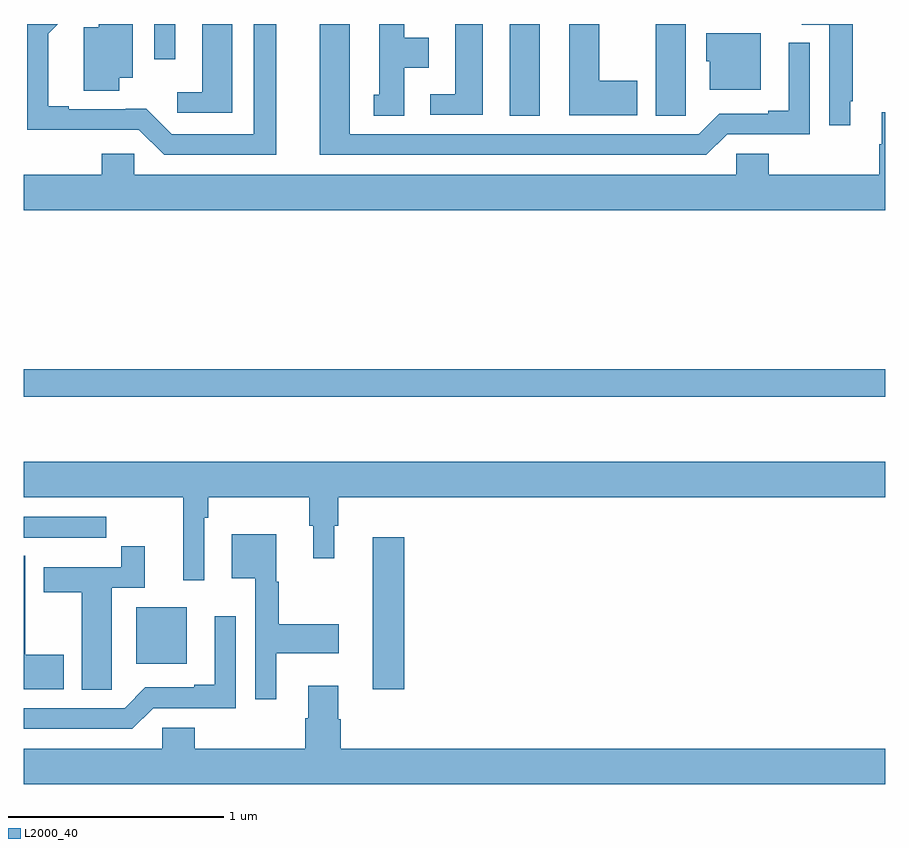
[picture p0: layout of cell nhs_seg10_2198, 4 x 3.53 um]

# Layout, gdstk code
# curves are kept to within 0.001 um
import gdstk
lib = gdstk.Library(unit=1e-6, precision=1e-09)
def R(c, l, rs):  # rectangles x0, y0, x1, y1
    for r in rs: c.add(gdstk.rectangle(r[:2], r[2:], *l))
def P(c, l, *ps):  # polygons
    for p in ps: c.add(gdstk.Polygon(p, *l))
L2000_40 = (2000, 40)

nhs_seg10_2198 = lib.new_cell('nhs_seg10_2198')
R(nhs_seg10_2198, L2000_40, [(228.62,1311.411,228.767,1312.117), (227.522,1311.53,227.758,1311.793), (227,1312.77,231,1312.898), (229.256,1314.073,229.396,1314.5), (227.607,1314.336,227.703,1314.5)])
P(nhs_seg10_2198, L2000_40, [(227.968,1314.5),(227.828,1314.5),(227.828,1314.184),(227.712,1314.184),(227.712,1314.087),(227.968,1314.087)],
  [(228.172,1314.5),(228.068,1314.5),(228.068,1313.988),(227.688,1313.988),(227.57,1314.106),(227.209,1314.105),(227.209,1314.118),(227.113,1314.118),(227.113,1314.454),(227.159,1314.5),(227.016,1314.5),(227.016,1314.008),(227.535,1314.009),(227.652,1313.892),(228.172,1313.892)],
  [(230.073,1314.184),(230.074,1314.184),(230.074,1314.5),(229.934,1314.5),(229.934,1314.073),(230.073,1314.073)],
  [(228.766,1314.296),(228.88,1314.296),(228.88,1314.436),(228.766,1314.436),(228.766,1314.5),(228.65,1314.5),(228.65,1314.171),(228.626,1314.171),(228.626,1314.073),(228.766,1314.073)],
  [(227.443,1314.251),(227.506,1314.251),(227.506,1314.5),(227.348,1314.5),(227.348,1314.484),(227.279,1314.484),(227.279,1314.19),(227.443,1314.19)],
  [(229.132,1314.5),(229.004,1314.5),(229.004,1314.174),(228.888,1314.174),(228.888,1314.078),(229.132,1314.078)],
  [(229.849,1314.237),(229.672,1314.237),(229.672,1314.5),(229.532,1314.5),(229.532,1314.077),(229.849,1314.077)],
  [(230.836,1314.142),(230.848,1314.142),(230.848,1314.5),(230.612,1314.5),(230.612,1314.497),(230.739,1314.497),(230.739,1314.03),(230.836,1314.03)],
  [(230.265,1313.988),(230.649,1313.988),(230.649,1314.412),(230.552,1314.412),(230.552,1314.097),(230.456,1314.097),(230.456,1314.084),(230.229,1314.084),(230.133,1313.988),(228.514,1313.988),(228.514,1314.5),(228.374,1314.5),(228.374,1313.892),(230.169,1313.892)],
  [(230.422,1314.457),(230.168,1314.457),(230.168,1314.327),(230.186,1314.327),(230.186,1314.194),(230.422,1314.194)],
  [(227.363,1313.898),(227.363,1313.8),(227,1313.8),(227,1313.636),(231,1313.636),(231,1314.091),(230.984,1314.091),(230.984,1313.942),(230.972,1313.942),(230.972,1313.8),(230.459,1313.8),(230.459,1313.898),(230.307,1313.898),(230.307,1313.8),(227.514,1313.8),(227.514,1313.898)],
  [(227.838,1312.208),(227.858,1312.208),(227.858,1312.304),(228.325,1312.304),(228.325,1312.17),(228.344,1312.17),(228.344,1312.02),(228.442,1312.02),(228.442,1312.17),(228.461,1312.17),(228.461,1312.304),(231,1312.304),(231,1312.468),(227,1312.468),(227,1312.304),(227.741,1312.304),(227.741,1311.918),(227.838,1311.918)],
  [(227.27,1312.116),(227.383,1312.116),(227.383,1312.212),(227,1312.212),(227,1312.116),(227.104,1312.116),(227.104,1312.115),(227.27,1312.115)],
  [(228.172,1311.578),(228.463,1311.578),(228.463,1311.713),(228.184,1311.713),(228.184,1311.912),(228.172,1311.912),(228.172,1312.132),(227.966,1312.132),(227.966,1311.926),(228.075,1311.926),(228.075,1311.366),(228.172,1311.366)],
  [(227.409,1311.52),(227.41,1311.52),(227.41,1311.882),(227.561,1311.882),(227.561,1312.075),(227.452,1312.075),(227.452,1311.978),(227.093,1311.978),(227.093,1311.862),(227.27,1311.862),(227.27,1311.409),(227.409,1311.409)],
  [(227.185,1311.573),(227.008,1311.573),(227.008,1312.031),(227,1312.031),(227,1311.413),(227.185,1311.413)],
  [(227.601,1311.324),(227.985,1311.324),(227.985,1311.751),(227.888,1311.751),(227.888,1311.433),(227.792,1311.433),(227.792,1311.42),(227.565,1311.42),(227.469,1311.324),(227,1311.324),(227,1311.228),(227.505,1311.228)],
  [(231,1311.136),(228.473,1311.136),(228.473,1311.273),(228.46,1311.273),(228.46,1311.427),(228.32,1311.427),(228.32,1311.278),(228.308,1311.278),(228.308,1311.136),(227.795,1311.136),(227.795,1311.234),(227.643,1311.234),(227.643,1311.136),(227,1311.136),(227,1310.972),(231,1310.972)])

lib.write_gds('nhs_seg10_2198.gds')
